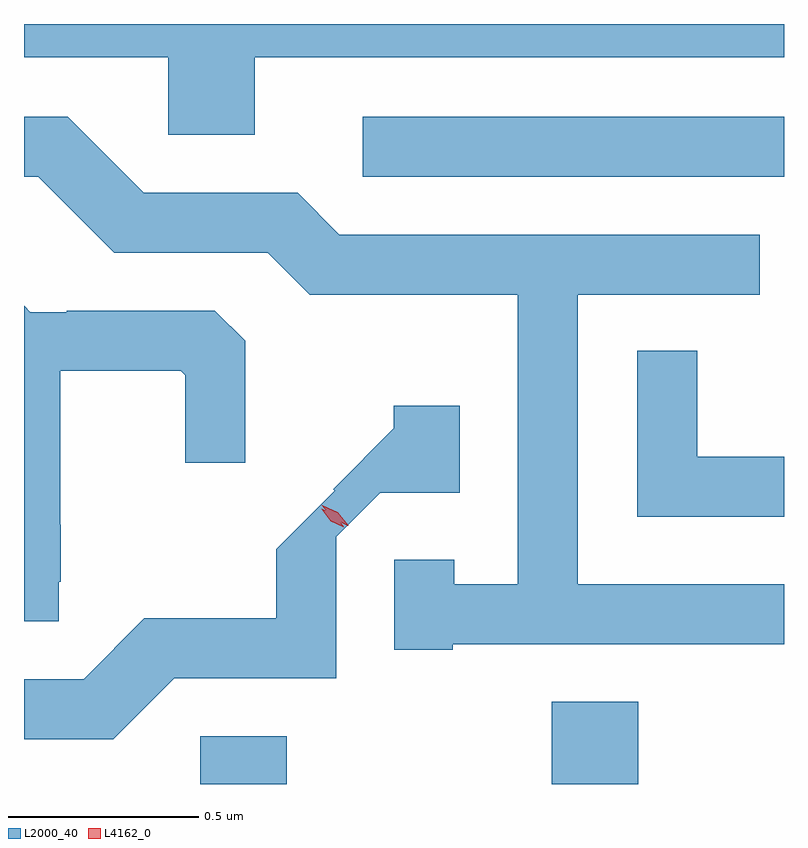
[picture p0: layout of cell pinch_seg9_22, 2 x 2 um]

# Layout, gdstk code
import gdstk
lib = gdstk.Library(unit=1e-6, precision=1e-09)
def R(c, l, rs):  # rectangles x0, y0, x1, y1
    for r in rs: c.add(gdstk.rectangle(r[:2], r[2:], *l))
def P(c, l, *ps):  # polygons
    for p in ps: c.add(gdstk.Polygon(p, *l))
L2000_40 = (2000, 40)
L4162_0 = (4162, 0)

pinch_seg9_22 = lib.new_cell('pinch_seg9_22')
R(pinch_seg9_22, L2000_40, [(857.576,2049.843,857.804,2049.969), (858.501,2049.843,858.729,2050.059), (858.003,2051.441,859.112,2051.599)])
P(pinch_seg9_22, L2000_40, [(857.719,2051.756),(859.112,2051.756),(859.112,2051.843),(857.112,2051.843),(857.112,2051.756),(857.491,2051.756),(857.491,2051.551),(857.719,2051.551)],
  [(858.24,2050.211),(859.112,2050.211),(859.112,2050.369),(858.569,2050.369),(858.569,2051.131),(859.048,2051.131),(859.048,2051.289),(857.942,2051.289),(857.832,2051.399),(857.427,2051.399),(857.227,2051.599),(857.112,2051.599),(857.112,2051.441),(857.149,2051.441),(857.349,2051.241),(857.754,2051.241),(857.864,2051.131),(858.411,2051.131),(858.411,2050.369),(858.244,2050.369),(858.244,2050.433),(858.086,2050.433),(858.086,2050.196),(858.24,2050.196)],
  [(857.204,2050.375),(857.209,2050.375),(857.209,2050.525),(857.207,2050.525),(857.207,2050.931),(857.524,2050.931),(857.536,2050.919),(857.536,2050.688),(857.694,2050.688),(857.694,2051.009),(857.614,2051.089),(857.225,2051.089),(857.225,2051.085),(857.128,2051.085),(857.112,2051.101),(857.112,2050.271),(857.204,2050.271)],
  [(859.112,2050.704),(858.884,2050.704),(858.884,2050.983),(858.726,2050.983),(858.726,2050.546),(859.112,2050.546)],
  [(857.507,2050.121),(857.934,2050.121),(857.934,2050.494),(858.05,2050.61),(858.259,2050.61),(858.259,2050.839),(858.085,2050.839),(858.085,2050.779),(857.926,2050.619),(857.93,2050.615),(857.776,2050.461),(857.776,2050.279),(857.429,2050.279),(857.269,2050.119),(857.112,2050.119),(857.112,2049.961),(857.347,2049.961)])
P(pinch_seg9_22, L4162_0, [(857.964,2050.523),(857.924,2050.542),(857.896,2050.577),(857.896,2050.577),(857.897,2050.577),(857.937,2050.558),(857.965,2050.524),(857.965,2050.523)],
  [(857.954,2050.519),(857.919,2050.535),(857.895,2050.566),(857.895,2050.567),(857.896,2050.567),(857.931,2050.551),(857.954,2050.52),(857.954,2050.519)])

lib.write_gds('pinch_seg9_22.gds')
